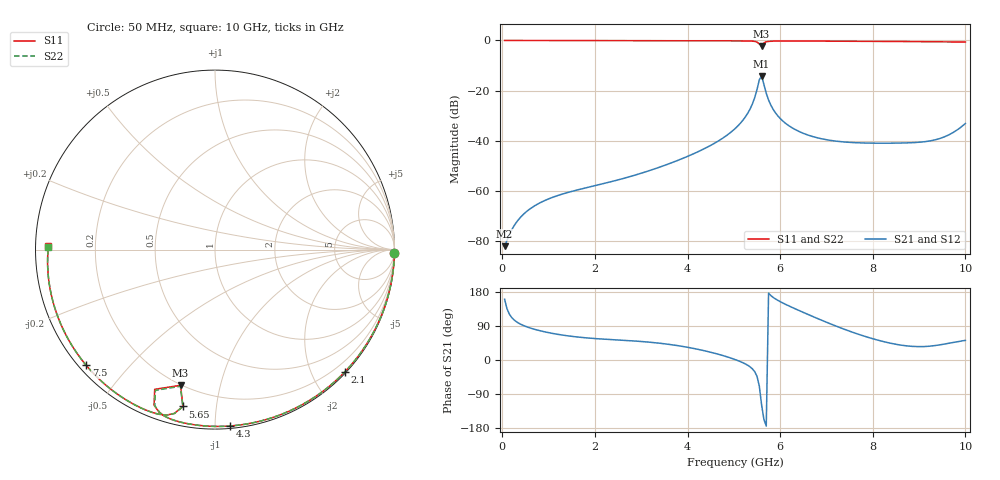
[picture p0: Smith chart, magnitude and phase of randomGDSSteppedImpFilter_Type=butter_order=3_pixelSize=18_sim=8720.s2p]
! freq	dB(S11)	phase(S11)	dB(S12)	phase(S12)
!  dB(S21)	phase(S21)	dB(S22)	phase(S22)
!S-par simulation data
#  GHz  S  DB  R 50
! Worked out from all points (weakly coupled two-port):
!   200 points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, 50 MHz to 10 GHz, reference 50 ohm
!   highest |S21| = -14.10 dB at 5.6 GHz (marker M1); lowest = -81.9 dB at 50 MHz (marker M2)
!   lowest |S11| = -2.2 dB at 5.6 GHz (marker M3), VSWR 8.09, Z = 9.83 - j37.9 ohm
!   |S11| at or under -10 dB: nowhere
!   |S22| runs from -2.1 to 0.0 dB; largest |S21 - S12| = 0
!   S11 on the Smith chart (normalised r, x): 50 MHz: open; 2.1 GHz: 0.02, -2.52; 4.3 GHz: 0.02, -1.09; 5.65 GHz: 0.10, -0.81; 7.5 GHz: 0.02, -0.38; 10 GHz: 0.04, +0.01
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0.05  -0.00 -1.1  -81.88 160.3  -81.88 160.3  -0.00 -1.1
0.1  -0.00 -2.1  -79.62 135.7  -79.62 135.7  -0.00 -2.1
0.35  -0.00 -7.4  -71.31 97.5  -71.31 97.5  -0.00 -7.4
0.65  -0.01 -13.7  -66.38 82.6  -66.38 82.6  -0.01 -13.6
1.75  -0.05 -36.2  -58.90 59.1  -58.90 59.1  -0.05 -36.1
2.1  -0.05 -43.2  -57.35 55.7  -57.35 55.7  -0.05 -43.2
3.4  -0.09 -68.4  -50.41 44.3  -50.41 44.3  -0.09 -68.3
4.3  -0.12 -85.1  -43.65 26.2  -43.65 26.2  -0.12 -84.9
5.05  -0.16 -99.0  -34.69 0.2  -34.69 0.2  -0.16 -98.8
5.35  -0.23 -105.6  -27.30 -18.1  -27.30 -18.1  -0.23 -105.4
5.45  -0.37 -108.9  -22.81 -30.7  -22.81 -30.7  -0.36 -108.7
5.55  -1.43 -113.3  -15.62 -68.8  -15.62 -68.8  -1.39 -113.0
5.6  -2.16 -104.3  -14.10 -119.0  -14.10 -119.0  -2.10 -104.2
5.65  -0.99 -101.5  -17.52 -157.1  -17.52 -157.1  -0.97 -101.6
5.8  -0.31 -107.6  -25.78 169.9  -25.78 169.9  -0.31 -107.5
6  -0.24 -112.3  -31.04 154.0  -31.04 154.0  -0.24 -112.1
6.3  -0.23 -117.9  -35.23 136.4  -35.23 136.4  -0.23 -117.7
6.7  -0.25 -124.8  -38.23 115.0  -38.23 115.0  -0.25 -124.6
7.5  -0.31 -138.1  -40.57 76.0  -40.57 76.0  -0.31 -137.9
8.35  -0.39 -152.1  -40.89 45.2  -40.89 45.2  -0.39 -151.9
9.4  -0.52 -169.9  -39.30 39.0  -39.30 39.0  -0.52 -169.6
10  -0.65 178.9  -33.05 51.8  -33.05 51.8  -0.64 179.2
